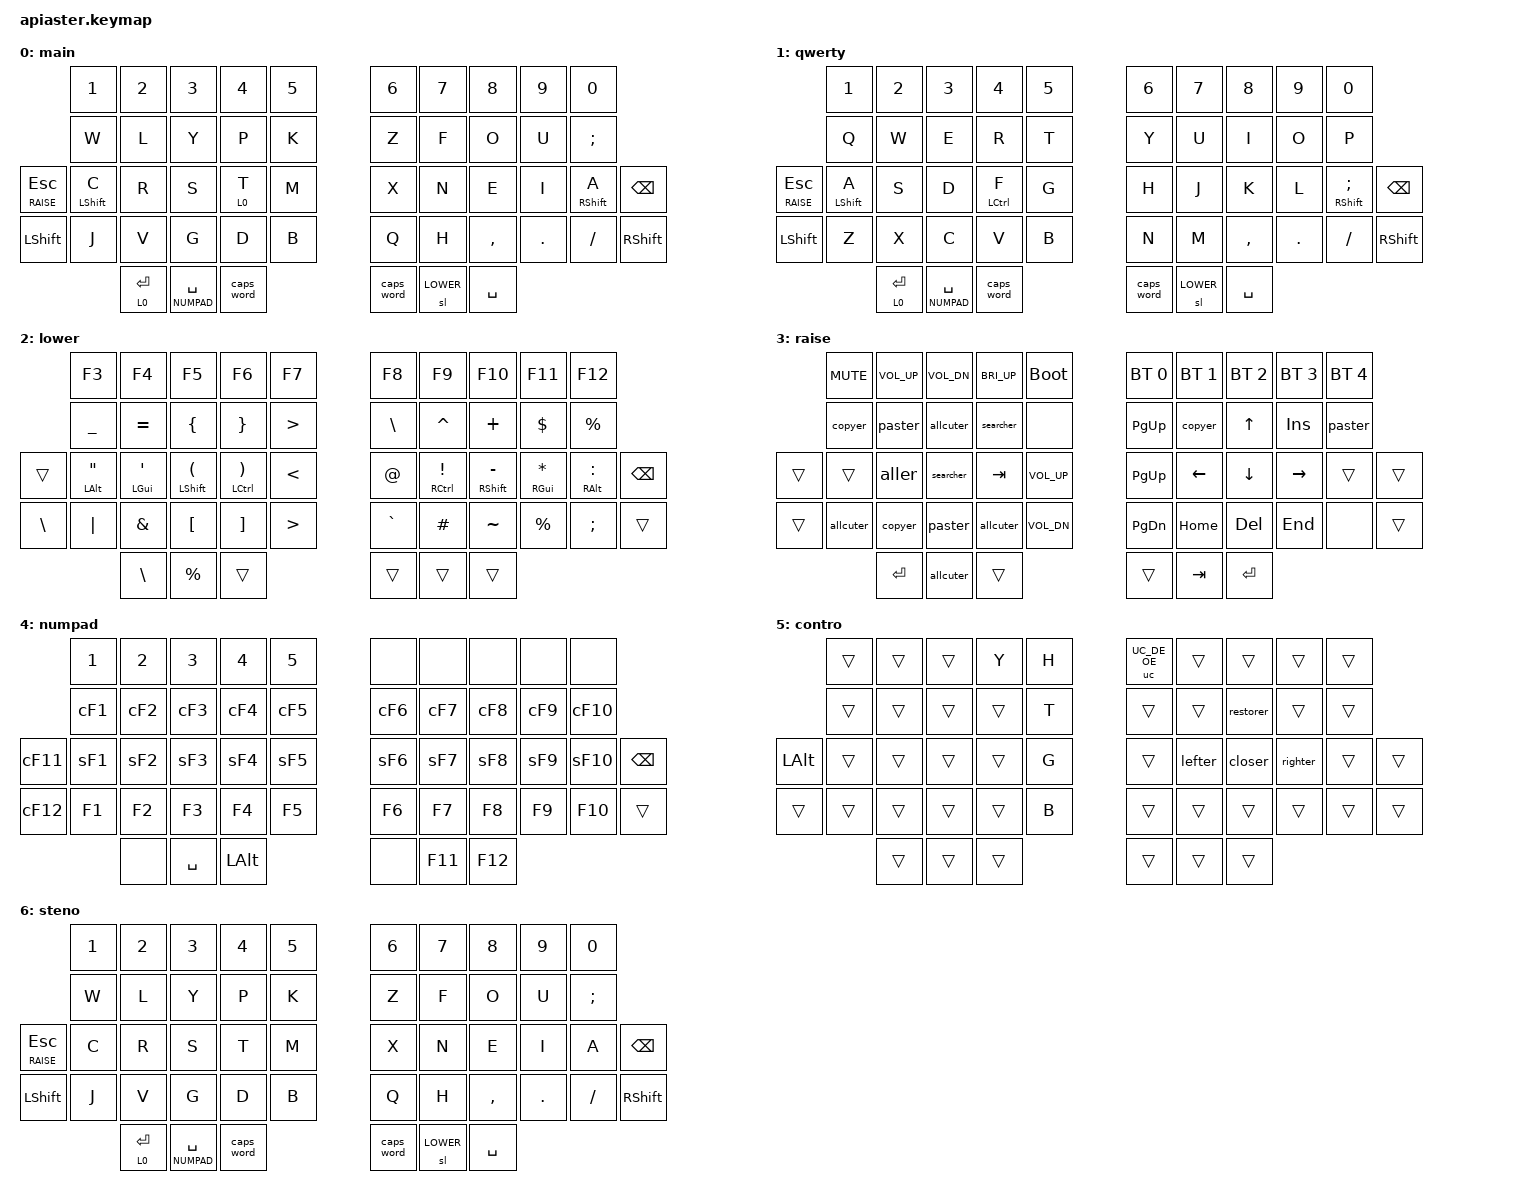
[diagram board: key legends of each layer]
#include <behaviors.dtsi>
#include <dt-bindings/zmk/keys.h>
#include <dt-bindings/zmk/bt.h>

#include "zmk-helpers/helper.h"
/* #include "zmk-helpers/unicode-chars/german.dtsi" */
#include <behaviors/unicode.dtsi>

#define BASE 0
#define QWERTY 1
#define LOWER 2
#define RAISE 3
#define WASD 4
#define NUMPAD 4
/* #define EXTRA_WASD 5 */
#define CONTRO 5
#define STENO 6
/* #define WASD_TYPE 6 */
#define _____ &none


#define KEYS_L 0 1 2 3 4 10 11 12 13 14 20 21 22 23 24 25 32 33 34 35 36 37
#define KEYS_R 5 6 7 8 9 15 16 17 18 19 26 27 28 29 30 31 38 39 40 41 42 43
#define THUMBS_L 44 45 46
#define THUMBS_R 47 48 49


//     0  1  2  3  4 |  5  6  7  8  9 
//    10 11 12 13 14 | 15 16 17 18 19
// 20 21 22 23 24 25 | 26 27 28 29 30 31
// 32 33 34 35 36 37 | 38 39 40 41 42 43
//          44 45 46 | 47 48 49 


#define HRML(k1,k2,k3,k4) &ht_gui 0 k1  &ht_alt 0 k2  &qht LSHFT 0 k3  &ht_ctl 0 k4

#define QWERTY_MOD_MACRO(name, mod)            \
name: name##_macro {                           \
	label = #name;                             \
	compatible = "zmk,behavior-macro";         \
	#binding-cells = <0>;                      \
	wait-ms = <0>;                             \
    bindings                                   \
        = <&macro_press &mo QWERTY &kp mod>    \
        , <&macro_pause_for_release>           \
        , <&macro_release &mo QWERTY &kp mod>; \
};

&sk {
    release-after-ms = <2000>;
    quick-release;
    /* /delete-property/ ignore-modifiers; */
};

ZMK_HOLD_TAP(lrep,
    flavor = "balanced";
    tapping-term-ms = <150>;
    quick-tap-ms = <80>;
    require-prior-idle-ms = <200>;
    bindings = <&mo>, <&key_repeat>;
)
 
/ {
    macros {
        QWERTY_MOD_MACRO(qalt, LALT)
        QWERTY_MOD_MACRO(qgui, LGUI)
        QWERTY_MOD_MACRO(qctl, LCTRL)
    };
};

#define HOME_ROW_MOD_TAP(name, macro)      \
name: name##_mod_tap {                     \
    label = #name;                         \
    compatible = "zmk,behavior-hold-tap";  \
    #binding-cells = <2>;                  \
    flavor = "balanced";                   \
    tapping-term-ms = <200>;               \
    quick-tap-ms = <150>;                  \
    global-quick-tap;                      \
    bindings = <macro>, <&kp>;             \
};

&caps_word {
    continue-list = <UNDERSCORE MINUS BACKSPACE DELETE>;
};

&uc {
  default-mode = <UC_MODE_LINUX>;  // Default to Linux input system
 //default-mode = <UC_MODE_LINUX_ALT>;
  minimum-length = <0>;            // Set to desired minimum input length
  linux-key = <LC(LS(U))>;         // Overwrite Linux compose key
  win-compose-key = <RALT>;        // Overwrite WinCompose compose key
};

/ {
    macros {
            #include "macros.inc"
    };

    behaviors {
        HOME_ROW_MOD_TAP(ht_alt, &qalt)
        HOME_ROW_MOD_TAP(ht_gui, &qgui)
        HOME_ROW_MOD_TAP(ht_ctl, &qctl)

        altcopy: alt_copy {
            compatible = "zmk,behavior-mod-morph";
            #binding-cells = <0>;
            bindings = <&lt RAISE ESC>, <&copyer>;
            mods = <(MOD_LALT)>;
        };

        altpaste: alt_paste {
            compatible = "zmk,behavior-mod-morph";
            #binding-cells = <0>;
            bindings = <&kp LSHFT>, <&paster>;
            mods = <(MOD_LALT)>;
        };

        hl: home_row_hold_tap_left {
            compatible = "zmk,behavior-hold-tap";
            #binding-cells = <2>;
            flavor = "balanced";
            tapping-term-ms = <280>;
            quick-tap-ms = <175>;                // repeat on tap-into-hold
            require-prior-idle-ms = <150>;
            bindings = <&kp>, <&kp>;
            hold-trigger-key-positions = <KEYS_R THUMBS_R>;
            hold-trigger-on-release;             // delay positional check until key-release
        };

        hr: home_row_hold_tap_right {
            compatible = "zmk,behavior-hold-tap";
            #binding-cells = <2>;
            flavor = "balanced";
            tapping-term-ms = <280>;
            quick-tap-ms = <175>;                // repeat on tap-into-hold
            require-prior-idle-ms = <150>;
            bindings = <&kp>, <&kp>;
            hold-trigger-key-positions = <KEYS_L THUMBS_L>;
            hold-trigger-on-release;             // delay positional check until key-release
        };

        td_rst: reset_tap_dance {
            compatible = "zmk,behavior-tap-dance";
            #binding-cells = <0>;
            tapping-term-ms = <200>;
            bindings = <&sys_reset>, <&bootloader>;
        };

        lm: lm {
            compatible = "zmk,behavior-macro-two-param";
            wait-ms = <0>;
            tap-ms = <0>;
            #binding-cells = <2>;
            bindings
              = <&macro_param_1to1>
              , <&macro_press &mo MACRO_PLACEHOLDER>
              , <&macro_param_2to1>
              , <&macro_press &kp MACRO_PLACEHOLDER>
              , <&macro_pause_for_release>
              , <&macro_param_2to1>
              , <&macro_release &kp MACRO_PLACEHOLDER>
              , <&macro_param_1to1>
              , <&macro_release &mo MACRO_PLACEHOLDER>
              ;
          };
    };

    combos {
        compatible = "zmk,combos";
        #include "combos.inc"
    };

keymap {
        compatible = "zmk,keymap";

        graphite_layer {
            display-name = "main";
// ------------------------------------------------------------------------------------------------------------
//         |   1   |   2   |    3    |   4    |   5   |              |  6  |   7    |    8    |   9   |   0   |       
//         |   W   |   L   |    Y    |   P    |   K   |              |  Z  |   X    |    O    |   U   |  TODO |        
//(todo,hr)  TODO?                                                                                      //TODO!
//TAB|       ALT/N | GUI/R | SHIFT/T | CTRL/S |   B   |              |  Y  | CTRL/N | SHIFT/E | GUI/I | ALT/A | ENTER |
// |  layer|   J   |   V   |    D    |   G    |   Q   |              |  M  |   H    |    .    |   ,   |   /   | layer |
//                                   | ALT  | RAISE | ESC |  | TODO |SPACE | LOWER  | 
//&hr RCTRL N &hr RSHFT E &hr RGUI I
            bindings = <
              &kp N1      &kp N2     &kp N3      &kp N4      &kp N5                      &kp N6    &kp N7      &kp N8      &kp N9   &kp N0
              &kp W       &kp L      &kp Y       &kp P       &kp K                       &kp Z     &kp F       &kp O       &kp U    &kp SEMI
&lt RAISE ESC &hl LSHFT C &kp R      &kp S       &ht_ctl 0 T &kp M                       &kp X     &kp N       &kp E       &kp I    &hr RSHFT A  &kp BSPC 
&kp LSHFT     &kp J       &kp V      &kp G       &kp D       &kp B                       &kp Q     &kp H       &kp COMMA   &kp DOT  &kp FSLH     &kp RSHFT
                          &ht_alt 0 ENTER  &lt NUMPAD SPACE  &caps_word                  &caps_word &sl LOWER  &kp SPACE 
            >;
        };

        qwerty_layer {
            display-name = "qwerty";
// ------------------------------------------------------------------------------------------------------------
//         |   1   |   2   |    3    |   4    |   5   |              |  6  |   7    |    8    |   9   |   0   |       
//         |   Q   |   W   |    E    |   R    |   T   |              |  Y  |   U    |    I    |   O   |   P   |        
// |  TAB  | ALT/A | GUI/S | SHIFT/D | CTRL/F |   G   |              |  H  | CTRL/J | SHIFT/K | GUI/L | ALT/; | ENTER |
// |   \   |   Z   |   X   |    C    |   V    |   B   |              |  N  |   M    |    ,    |   .   |   /   |   '   |
//                                   | LOWER  | SPACE | ESC |  | DEL |BACK | RAISE  | 
            bindings = <
              &kp N1     &kp N2        &kp N3      &kp N4      &kp N5                      &kp N6    &kp N7      &kp N8      &kp N9     &kp N0
              &kp Q      &kp W         &kp E       &kp R       &kp T                       &kp Y     &kp U       &kp I       &kp O      &kp P
&lt RAISE ESC &hl LSHFT A &kp S        &kp D       &hl LCTRL F &kp G                       &kp H     &kp J       &kp K       &kp L      &hr RSHFT SEMI &kp BSPC
&kp LSHFT     &kp Z       &kp X        &kp C       &kp V       &kp B                       &kp N     &kp M       &kp COMMA   &kp DOT    &kp FSLH       &kp RSHFT
                         &ht_alt 0 ENTER  &lt NUMPAD SPACE     &caps_word                  &caps_word &sl LOWER  &kp SPACE 
            >;
        };

        lower_layer {
            display-name = "lower";
// ------------------------------------------------------------------------------------------------------------
// |       |  F1 |  F2 |  F3  |  F4  |  F5  |                   |  F6  |  F7   |  F8   |  F9  |  F10  |       |
// |       |  _  |  =  |  {   |  }   |  T   |                   |  T   |  ^    |  +    |  $   |   *   |       |
// |   Tab |  "  |  '  |  (   |  )   |  T   |                   |  @   |  !    |  -    |  ?   |   :   |  F11
// |   `   |  |  |  &  |  [   |  ]   |  #   |                   |  \   |  /    |  ~    |   %  |   ;   |  F12
//               |     |      |      |      |        |  |       |      |       |       |      |
//             bindings = <
//          &kp F3        &kp F4      &kp F5         &kp F6         &kp F7                  &kp F8    &kp F9         &kp F10          &kp F11       &kp F12   
//          &kp UNDER     &kp EQUAL   &kp LBRC       &kp RBRC        &kp GT                 &kp BSLH   &kp CARET      &kp PLUS        &kp DLLR     &kp PRCNT
// &uc UC_DE_SS &hl LALT DQT &hl LGUI SQT &hl LSHFT LPAR &hl LCTRL RPAR  &kp LT          &kp AT    &hr RCTRL EXCL &hr RSHFT MINUS &hr RGUI STAR &hr RALT COLON &kp BSPC
// &kp BSLH &kp PIPE     &kp AMPS      &kp LBKT      &kp RBKT        &kp GT               &kp GRAVE &kp HASH       &kp TILDE       &kp PRCNT   &kp SEMI     _____
//                                                   &kp BSLH      &kp PRCNT &uc UC_DE_OE &uc UC_DE_AE &uc UC_DE_SS &uc UC_DE_OE     

             bindings = <
         &kp F3        &kp F4      &kp F5         &kp F6         &kp F7                  &kp F8    &kp F9         &kp F10          &kp F11       &kp F12   
         &kp UNDER     &kp EQUAL   &kp LBRC       &kp RBRC        &kp GT                 &kp BSLH   &kp CARET      &kp PLUS        &kp DLLR     &kp PRCNT
&trans &hl LALT DQT &hl LGUI SQT &hl LSHFT LPAR &hl LCTRL RPAR  &kp LT          &kp AT    &hr RCTRL EXCL &hr RSHFT MINUS &hr RGUI STAR &hr RALT COLON &kp BSPC
&kp BSLH &kp PIPE     &kp AMPS      &kp LBKT      &kp RBKT        &kp GT               &kp GRAVE &kp HASH       &kp TILDE       &kp PRCNT   &kp SEMI     &trans
                                                  &kp BSLH      &kp PRCNT  &trans      &trans &trans &trans
            >;
        };

        raise_layer {
            display-name = "raise";
// ------------------------------------------------------------------------------------------------------------
//         | MUTE | VOL+   |  VOL-   | BRI+        |  BRI-  |                |  BT 0 | BT 1 |  BT 2 | BT 3 | BT 4     | 
//         | PREV | REWIND | PAUSE   | FASTFORWARD |  NEXT  |                | PGUP  | HOME |   ^   | END  | BT CLEAR |       
// | reset | CAPS | INS    | PRNTSCR | MENU        | studio |                | PGDN  |   <- |   v   |  ->  |  off     | reset |
// |       |      |        | QWERTY  | WASD        |  boot  |                | boot  |      |       |      |  POWER   | reset |
//                                   |             |        |      |  |      |       |      |
            bindings = <
          &kp C_MUTE &kp C_VOL_UP &kp C_VOL_DN &kp C_BRI_UP &bootloader           &bt BT_SEL 0 &bt BT_SEL 1 &bt BT_SEL 2 &bt BT_SEL 3 &bt BT_SEL 4                 
          &copyer    &paster       &allcuter  &searcher       _____                     &kp PG_UP   &copyer      &kp UP       &kp INS      &paster
&trans    &trans     &aller       &searcher  &kp TAB   &kp C_VOL_UP               &kp PG_UP    &kp LEFT    &kp DOWN     &kp RIGHT    &trans  &trans
&trans    &allcuter  &copyer       &paster    &allcuter   &kp C_VOL_DN                 &kp PG_DN    &kp HOME   &kp DEL      &kp END     _____   &trans
                                            &kp ENTER  &allcuter &trans           &trans       &kp TAB     &kp ENTER
            >;
        };
      

        numpad_layer {
            display-name = "numpad";
// ------------------------------------------------------------------------------------------------------------
//         | MUTE | VOL+   |  VOL-   | BRI+        |  BRI-  |                |  BT 0 | BT 1 |  BT 2 | BT 3 | BT 4     | 
//         | PREV | REWIND | PAUSE   | FASTFORWARD |  NEXT  |                | PGUP  | HOME |   ^   | END  | BT CLEAR |       
// | reset | CAPS | INS    | PRNTSCR | MENU        | studio |                | PGDN  |   <- |   v   |  ->  |  off     | reset |
// |       |      |        |         | QWERTY      |  boot  |                | boot  |      |       |      |  POWER   | reset |
//                                   |             |        |      |  |      |       |      |
//             bindings = <
//           &kp N1     &kp N2   &kp N3   &kp N4    &kp N5                            &none  &none  &none  &none  &none 
//           &cF1       &cF2     &cF3     &cF4      &cF5                               &cF6       &cF7     &cF8     &cF9    &cF10
// &cF11     &sF1       &sF2     &sF3     &sF4      &sF5                               &sF6       &sF7     &sF8     &sF9    &sF10 &kp BSPC
// &cF12     &kp F1     &kp F2   &kp F3   &kp F4    &kp F5                             &kp F6     &kp F7   &kp F8   &kp F9  &kp F10 &uc UC_DE_SS 
//                                        _____     &kp SPACE &kp LALT   _____  &kp F11 &kp F12

            bindings = <
          &kp N1     &kp N2   &kp N3   &kp N4    &kp N5                            &none  &none  &none  &none  &none 
          &cF1       &cF2     &cF3     &cF4      &cF5                               &cF6       &cF7     &cF8     &cF9    &cF10
&cF11     &sF1       &sF2     &sF3     &sF4      &sF5                               &sF6       &sF7     &sF8     &sF9    &sF10 &kp BSPC
&cF12     &kp F1     &kp F2   &kp F3   &kp F4    &kp F5                             &kp F6     &kp F7   &kp F8   &kp F9  &kp F10 &trans 
                                       _____     &kp SPACE &kp LALT   _____  &kp F11 &kp F12
            >;
        };

        main2_layer {
            display-name = "contro";
//             bindings = <
//           &trans     &trans   &trans   &kp Y    &kp H                  &trans    &trans  &trans  &trans  &trans  
//           &trans     &trans   &trans   &trans   &kp T                  &trans    &uc UC_DE_OE &restorer &uc UC_DE_UE &trans  
// &kp LALT  &trans     &trans   &trans   &trans   &kp G                  &trans    &lefter  &closer  &righter  &uc UC_DE_AE   &trans  
// &trans    &trans     &trans   &trans   &trans   &kp B                  &trans    &trans  &trans  &trans  &trans   &trans  
                                       // &trans   &trans  &trans  &trans &trans    &uc UC_DE_SS
            bindings = <
          &trans     &trans   &trans   &kp Y    &kp H                  &uc UC_DE_OE &trans  &trans  &trans  &trans  
          &trans     &trans   &trans   &trans   &kp T                  &trans    &trans &restorer &trans &trans  
&kp LALT  &trans     &trans   &trans   &trans   &kp G                  &trans    &lefter  &closer  &righter  &trans   &trans  
&trans    &trans     &trans   &trans   &trans   &kp B                  &trans    &trans  &trans  &trans  &trans   &trans  
                                       &trans   &trans  &trans  &trans &trans    &trans
            >;
        };
        steno_layer {
            display-name = "steno";
// ---------------------------------------------------
//         |      |       |     |   Y  |  H   |     
//         |      |       |     |      |  T   |           
// |  ALT  |      |       |     |      |  G   |  
// |       |      |       |     |      |  B   |  
//                              |      |      |        |     
            bindings = <
              &kp N1      &kp N2     &kp N3      &kp N4      &kp N5                      &kp N6    &kp N7      &kp N8      &kp N9   &kp N0
              &kp W       &kp L      &kp Y       &kp P       &kp K                       &kp Z     &kp F       &kp O       &kp U    &kp SEMI
&lt RAISE ESC &kp C       &kp R      &kp S       &kp T       &kp M                       &kp X     &kp N       &kp E       &kp I    &kp  A  &kp BSPC 
&kp LSHFT     &kp J       &kp V      &kp G       &kp D       &kp B                       &kp Q     &kp H       &kp COMMA   &kp DOT  &kp FSLH     &kp RSHFT
                          &ht_alt 0 ENTER  &lt NUMPAD SPACE  &caps_word                  &caps_word &sl LOWER  &kp SPACE 
            >;
        };

        extra1 {
            status = "reserved";
        };

        extra2 {
            status = "reserved";
        };

        extra3 {
            status = "reserved";
        };

        extra4 {
            status = "reserved";
        };

        extra5 {
            status = "reserved";
        };
    };
};
